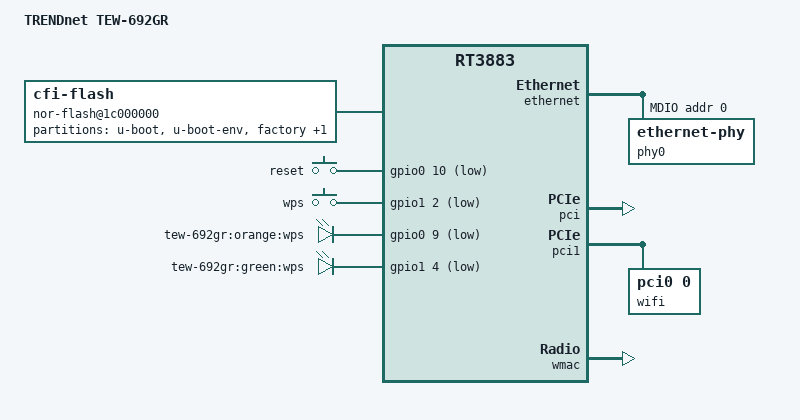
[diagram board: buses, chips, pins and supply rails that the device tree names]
/dts-v1/;

#include "rt3883.dtsi"

#include <dt-bindings/gpio/gpio.h>
#include <dt-bindings/input/input.h>

/ {
	compatible = "trendnet,tew-692gr", "ralink,rt3883-soc";
	model = "TRENDnet TEW-692GR";

	aliases {
		led-boot = &led_wps_green;
		led-failsafe = &led_wps_green;
		led-running = &led_wps_green;
		led-upgrade = &led_wps_green;
	};

	nor-flash@1c000000 {
		compatible = "cfi-flash";
		reg = <0x1c000000 0x800000>;
		bank-width = <2>;

		partitions {
			compatible = "fixed-partitions";
			#address-cells = <1>;
			#size-cells = <1>;

			partition@0 {
				reg = <0x0 0x0030000>;
				label = "u-boot";
				read-only;
			};

			partition@30000 {
				reg = <0x00030000 0x00010000>;
				label = "u-boot-env";
				read-only;
			};

			factory: partition@40000 {
				reg = <0x00040000 0x00010000>;
				label = "factory";
				read-only;
			};

			partition@50000 {
				reg = <0x00050000 0x007b0000>;
				label = "firmware";
			};
		};
	};

	gpio-keys-polled {
		compatible = "gpio-keys-polled";
		poll-interval = <100>;

		reset {
			label = "reset";
			gpios = <&gpio0 10 GPIO_ACTIVE_LOW>;
			linux,code = <KEY_RESTART>;
		};

		wps {
			label = "wps";
			gpios = <&gpio1 2 GPIO_ACTIVE_LOW>;
			linux,code = <KEY_WPS_BUTTON>;
		};
	};

	gpio-leds {
		compatible = "gpio-leds";

		wps {
			label = "tew-692gr:orange:wps";
			gpios = <&gpio0 9 GPIO_ACTIVE_LOW>;
		};

		led_wps_green: wps2 {
			label = "tew-692gr:green:wps";
			gpios = <&gpio1 4 GPIO_ACTIVE_LOW>;
		};
	};
};

&gpio1 {
	status = "okay";
};

&pinctrl {
	state_default: pinctrl0 {
		gpio {
			ralink,group = "spi", "i2c", "jtag", "uartf";
			ralink,function = "gpio";
		};
	};
};

&ethernet {
	status = "okay";
	mtd-mac-address = <&factory 0x4>;

	port@0 {
		phy-handle = <&phy0>;
		phy-mode = "rgmii";
	};

	mdio-bus {
		status = "okay";

		phy0: ethernet-phy@0 {
			reg = <0>;
			phy-mode = "rgmii";

			qca,ar8327-initvals = <
				0x04 0x07600000 /* PORT0 PAD MODE CTRL */
				0x0c 0x07600000 /* PORT6 PAD MODE CTRL */
				0x10 0x40000000 /* Power-on Strapping: 176-pin interface configuration */
				0x50 0xc437c437 /* LED Control Register 0 */
				0x54 0xc337c337 /* LED Control Register 1 */
				0x58 0x00000000 /* LED Control Register 2 */
				0x5c 0x03ffff00 /* LED Control Register 3 */
				0x7c 0x0000007e /* PORT0_STATUS */
				0x94 0x0000007e /* PORT6 STATUS */
			>;
		};
	};
};

&pci {
	status = "okay";
};

&pci1 {
	status = "okay";

	wifi@0,0 {
		compatible = "pci0,0";
		reg = < 0x10000 0 0 0 0 >;
		ralink,2ghz = <0>;
	};
};

&wmac {
	status = "okay";
	ralink,mtd-eeprom = <&factory 0x0>;
	ralink,5ghz = <0>;
	mtd-mac-address = <&factory 0x4>;
	mtd-mac-address-increment = <3>;
};
